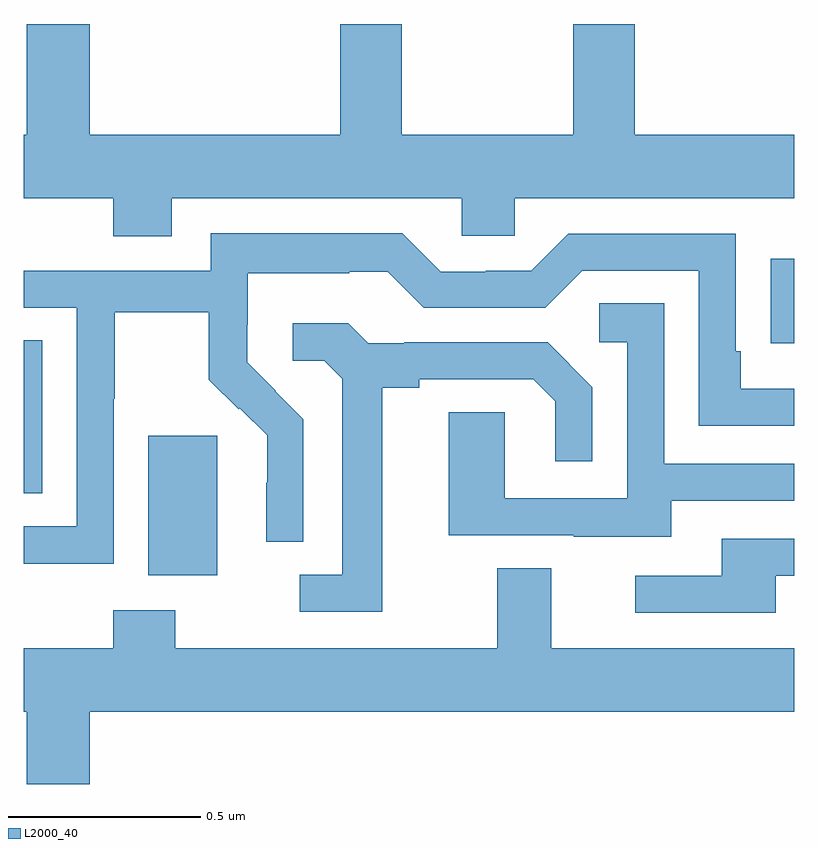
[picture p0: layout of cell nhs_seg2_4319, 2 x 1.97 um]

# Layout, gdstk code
import gdstk
lib = gdstk.Library(unit=1e-6, precision=1e-09)
def R(c, l, rs):  # rectangles x0, y0, x1, y1
    for r in rs: c.add(gdstk.rectangle(r[:2], r[2:], *l))
def P(c, l, *ps):  # polygons
    for p in ps: c.add(gdstk.Polygon(p, *l))
L2000_40 = (2000, 40)

nhs_seg2_4319 = lib.new_cell('nhs_seg2_4319')
R(nhs_seg2_4319, L2000_40, [(165.323,601.37,165.502,601.731), (165,601.582,165.049,601.979), (166.939,601.972,167,602.191)])
P(nhs_seg2_4319, L2000_40, [(165.385,602.348),(166.137,602.348),(166.137,602.25),(166.275,602.25),(166.275,602.348),(167,602.348),(167,602.512),(166.586,602.512),(166.586,602.8),(166.426,602.8),(166.426,602.512),(165.981,602.512),(165.981,602.8),(165.821,602.8),(165.821,602.512),(165.172,602.512),(165.172,602.8),(165.008,602.8),(165.008,602.512),(165,602.512),(165,602.348),(165.233,602.348),(165.233,602.249),(165.385,602.249)],
  [(165.234,601.828),(165.237,601.828),(165.237,602.052),(165.481,602.052),(165.481,601.877),(165.558,601.8),(165.561,601.803),(165.632,601.733),(165.632,601.61),(165.63,601.61),(165.63,601.456),(165.726,601.456),(165.726,601.774),(165.653,601.847),(165.654,601.848),(165.58,601.922),(165.58,602.019),(165.582,602.019),(165.582,602.153),(165.845,602.153),(165.845,602.157),(165.945,602.157),(166.038,602.064),(166.353,602.064),(166.449,602.16),(166.752,602.16),(166.752,601.758),(167,601.758),(167,601.854),(166.861,601.854),(166.861,601.951),(166.848,601.951),(166.848,602.256),(166.413,602.256),(166.317,602.16),(166.199,602.16),(166.199,602.157),(166.083,602.157),(165.983,602.257),(165.486,602.257),(165.486,602.16),(165,602.16),(165,602.064),(165.138,602.064),(165.138,601.497),(165,601.497),(165,601.399),(165.234,601.399)],
  [(166.681,601.563),(167,601.563),(167,601.659),(166.662,601.659),(166.662,602.075),(166.494,602.075),(166.494,601.974),(166.566,601.974),(166.566,601.569),(166.248,601.569),(166.248,601.793),(166.103,601.793),(166.103,601.473),(166.427,601.473),(166.427,601.469),(166.681,601.469)],
  [(165.931,601.856),(166.027,601.856),(166.027,601.878),(166.322,601.878),(166.379,601.821),(166.379,601.665),(166.476,601.665),(166.476,601.858),(166.36,601.974),(165.988,601.974),(165.988,601.971),(165.894,601.971),(165.842,602.023),(165.699,602.023),(165.699,601.926),(165.78,601.926),(165.827,601.879),(165.827,601.371),(165.717,601.371),(165.717,601.275),(165.931,601.275)],
  [(166.951,601.368),(167,601.368),(167,601.464),(166.811,601.464),(166.811,601.368),(166.587,601.368),(166.587,601.272),(166.951,601.272)],
  [(165.172,601.016),(167,601.016),(167,601.18),(166.369,601.18),(166.369,601.388),(166.229,601.388),(166.229,601.18),(165.393,601.18),(165.393,601.279),(165.233,601.279),(165.233,601.18),(165,601.18),(165,601.016),(165.008,601.016),(165.008,600.828),(165.172,600.828)])

lib.write_gds('nhs_seg2_4319.gds')
